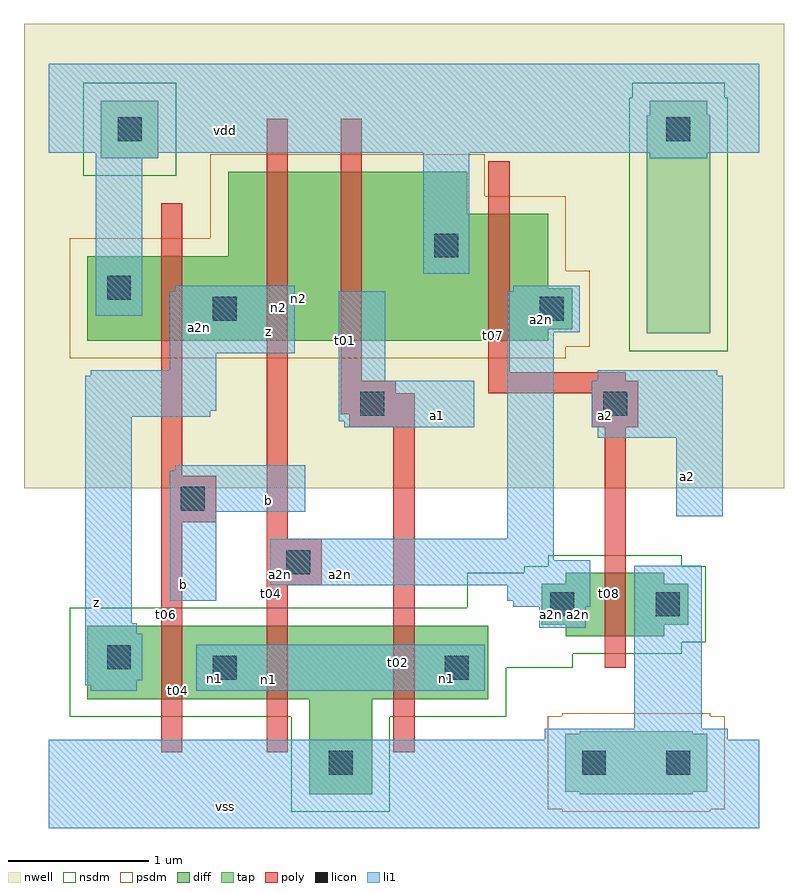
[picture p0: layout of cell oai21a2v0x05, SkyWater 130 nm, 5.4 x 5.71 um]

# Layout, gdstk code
import gdstk
lib = gdstk.Library(unit=1e-6, precision=5e-09)
def R(c, l, rs):  # rectangles x0, y0, x1, y1
    for r in rs: c.add(gdstk.rectangle(r[:2], r[2:], *l))
def A(c, l, x, y, w, h, nx, ny, dx, dy):  # array of equal rectangles
    R(c, l, [(x+i*dx, y+j*dy, x+i*dx+w, y+j*dy+h) for i in range(nx) for j in range(ny)])
nwell = (64, 20)
diff = (65, 20)
tap = (65, 44)
poly = (66, 20)
licon = (66, 44)
li1 = (67, 20)
nsdm = (93, 44)
psdm = (94, 20)

oai21a2v0x05 = lib.new_cell('oai21a2v0x05')
R(oai21a2v0x05, nwell, [(-0.3,2.4,5.1,5.7)])
R(oai21a2v0x05, diff, [(1.725,0.225,2.175,1.425), (0.15,0.9,3,1.425), (3.55,1.35,4.25,1.8), (3.38,1.43,4.42,1.72), (0.15,3.45,3.425,4.05), (1.15,3.45,2.85,4.65), (1.15,3.45,3.425,4.35), (0.15,3.53,3.595,3.82)])
R(oai21a2v0x05, tap, [(3.65,0.225,4.45,0.675), (3.545,0.245,4.555,0.655), (4.125,3.5,4.575,5.05), (4.145,3.5,4.555,5.155), (0.245,4.745,0.655,5.155)])
R(oai21a2v0x05, poly, [(0.675,0.525,0.825,4.425), (1.425,0.525,1.575,5.025), (2.325,0.525,2.475,3.075), (3.825,1.125,3.975,3.225), (1.425,1.71,1.815,2.04), (0.675,2.16,1.065,2.49), (2.01,2.835,2.475,3.075), (2.01,2.835,2.34,3.165), (3.735,2.835,4.065,3.165), (3.735,2.835,3.9,3.225), (1.95,2.925,2.1,5.025), (1.95,2.925,2.475,3.075), (1.95,2.925,2.34,3.165), (3,3.075,3.975,3.225), (3,3.075,3.15,4.725)])
R(oai21a2v0x05, licon, [(1.865,0.365,2.035,0.535), (3.665,0.365,3.835,0.535), (4.265,0.365,4.435,0.535), (1.04,1.04,1.21,1.21), (2.69,1.04,2.86,1.21), (0.29,1.115,0.46,1.285), (3.44,1.49,3.61,1.66), (4.19,1.49,4.36,1.66), (1.565,1.79,1.735,1.96), (0.815,2.24,0.985,2.41), (2.09,2.915,2.26,3.085), (3.815,2.915,3.985,3.085), (1.04,3.59,1.21,3.76), (3.365,3.59,3.535,3.76), (0.29,3.74,0.46,3.91), (2.615,4.04,2.785,4.21), (0.365,4.865,0.535,5.035), (4.265,4.865,4.435,5.035)])
A(oai21a2v0x05, li1, 0.775, 3.435, 0.25, 0.33, 3, 1, 0.6, 0)
R(oai21a2v0x05, li1, [(-0.125,-0.015,4.925,0.615), (-0.125,-0.015,4.925,0.615), (3.4,-0.015,4.7,0.69), (4.035,-0.015,4.515,1.85), (0.175,0.96,0.5,1.44), (0.175,0.96,0.465,3.24), (0.925,0.96,2.975,1.29), (0.135,1,0.5,1.44), (0.135,1,0.465,3.2), (0.135,1.035,0.54,1.365), (0.135,1.075,0.465,3.125), (3.36,1.41,3.69,1.89), (3.175,1.56,3.465,3.84), (3.175,1.56,3.725,1.89), (0.735,1.6,1.065,2.525), (0.775,1.6,1.065,2.565), (3.135,1.6,3.465,3.8), (3.135,1.6,3.725,1.89), (0.775,1.635,1.025,1.965), (1.45,1.71,3.725,1.89), (1.45,1.71,3.465,2.04), (4.335,2.2,4.625,3.24), (4.335,2.2,4.625,3.24), (4.335,2.2,4.665,3.2), (0.735,2.235,1.7,2.525), (0.775,2.235,1.7,2.565), (1.375,2.235,1.625,2.565), (4.335,2.275,4.665,3.125), (3.775,2.76,4.665,3.2), (3.775,2.76,4.665,3.2), (3.775,2.76,4.625,3.24), (1.975,2.835,2.265,3.8), (1.975,2.835,2.9,3.165), (2.575,2.835,2.825,3.165), (3.735,2.835,4.665,3.165), (3.775,2.835,4.025,3.165), (1.935,2.875,2.9,3.165), (1.935,2.875,2.265,3.8), (0.135,2.91,1.025,3.2), (0.175,2.91,1.025,3.24), (0.735,2.91,1.025,3.8), (0.775,2.91,1.025,3.84), (0.135,2.95,1.065,3.2), (0.175,2.95,1.065,3.24), (0.735,2.95,1.065,3.8), (0.775,2.95,1.065,3.84), (0.735,3.36,1.625,3.8), (0.775,3.36,1.625,3.84), (3.135,3.51,3.65,3.8), (3.175,3.51,3.65,3.84), (0.21,3.625,0.54,5.415), (2.535,3.925,2.865,5.415), (0.21,4.745,0.655,5.415), (4.145,4.745,4.555,5.415), (-0.125,4.785,4.925,5.415), (-0.125,4.785,4.925,5.415)])
R(oai21a2v0x05, nsdm, [(1.6,0.1,2.3,1.55), (1.725,0.225,2.175,1.425), (1.725,0.225,2.175,1.425), (1.805,0.305,2.095,0.595), (0.025,0.775,3.125,1.55), (0.15,0.9,0.6,1.425), (0.15,0.9,0.6,1.425), (0.975,0.9,1.275,1.425), (0.975,0.9,1.275,1.425), (2.55,0.9,3,1.425), (2.55,0.9,3,1.425), (0.98,0.98,1.27,1.27), (2.63,0.98,2.92,1.27), (0.23,1.055,0.52,1.345), (0.025,1.125,3.6,1.55), (2.85,1.125,3.6,1.8), (2.85,1.125,3.6,1.8), (2.85,1.125,3.6,1.8), (2.85,1.225,4.375,1.8), (2.85,1.225,4.375,1.8), (2.85,1.225,4.375,1.8), (3.255,1.225,4.375,1.845), (3.255,1.225,4.375,1.845), (3.425,1.225,4.375,1.925), (2.85,1.305,4.545,1.8), (2.85,1.305,4.545,1.8), (2.85,1.305,4.545,1.8), (3.255,1.305,4.545,1.845), (3.38,1.43,3.67,1.72), (4.13,1.43,4.42,1.72), (4,3.375,4.7,5.175), (4.02,3.375,4.68,5.28), (0.12,4.62,0.78,5.28)])
R(oai21a2v0x05, psdm, [(3.525,0.1,4.575,0.8), (3.42,0.12,4.68,0.78), (0.025,3.325,3.55,4.175), (1.025,3.325,2.975,4.775), (1.025,3.325,3.55,4.475), (0.025,3.405,3.72,3.945), (0.15,3.45,0.6,4.05), (0.15,3.45,0.6,4.05), (0.975,3.45,1.275,4.05), (0.975,3.45,1.275,4.05), (1.575,3.45,1.875,4.65), (1.575,3.45,1.875,4.65), (2.25,3.45,2.55,4.65), (2.25,3.45,2.55,4.65), (2.4,3.45,2.85,4.65), (2.4,3.45,2.85,4.65), (0.98,3.53,1.27,3.82), (3.305,3.53,3.595,3.82), (0.23,3.68,0.52,3.97), (2.555,3.98,2.845,4.27)])
oai21a2v0x05.add(gdstk.Label('t04', (0.8,0.965), layer=93, texttype=44))
oai21a2v0x05.add(gdstk.Label('n2', (1.51,3.685), layer=94, texttype=20))
oai21a2v0x05.add(gdstk.Label('a2n', (0.945,3.54), layer=94, texttype=20))
oai21a2v0x05.add(gdstk.Label('t05', (0.905,3.535), layer=94, texttype=20))
oai21a2v0x05.add(gdstk.Label('t04', (0.86,1.03), layer=65, texttype=20))
oai21a2v0x05.add(gdstk.Label('n2', (1.575,3.75), layer=65, texttype=20))
oai21a2v0x05.add(gdstk.Label('a2n', (3.64,1.5), layer=65, texttype=20))
oai21a2v0x05.add(gdstk.Label('a2n', (1.01,3.6), layer=65, texttype=20))
oai21a2v0x05.add(gdstk.Label('t05', (0.965,3.6), layer=65, texttype=20))
oai21a2v0x05.add(gdstk.Label('n1', (1.05,1.05), layer=93, texttype=44))
oai21a2v0x05.add(gdstk.Label('n1', (2.7,1.05), layer=93, texttype=44))
oai21a2v0x05.add(gdstk.Label('a2n', (3.45,1.5), layer=93, texttype=44))
oai21a2v0x05.add(gdstk.Label('a2n', (3.375,3.6), layer=94, texttype=20))
oai21a2v0x05.add(gdstk.Label('n2', (1.65,3.75), layer=94, texttype=20))
oai21a2v0x05.add(gdstk.Label('t06', (0.71,1.5), layer=66, texttype=20))
oai21a2v0x05.add(gdstk.Label('a2n', (1.52,1.79), layer=66, texttype=20))
oai21a2v0x05.add(gdstk.Label('t04', (1.46,1.65), layer=66, texttype=20))
oai21a2v0x05.add(gdstk.Label('t01', (1.985,3.45), layer=66, texttype=20))
oai21a2v0x05.add(gdstk.Label('t02', (2.36,1.16), layer=66, texttype=20))
oai21a2v0x05.add(gdstk.Label('t08', (3.86,1.65), layer=66, texttype=20))
oai21a2v0x05.add(gdstk.Label('t07', (3.035,3.485), layer=66, texttype=20))
oai21a2v0x05.add(gdstk.Label('a2n', (3.405,3.63), layer=66, texttype=44))
oai21a2v0x05.add(gdstk.Label('n1', (1.08,1.08), layer=66, texttype=44))
oai21a2v0x05.add(gdstk.Label('n1', (2.73,1.08), layer=66, texttype=44))
oai21a2v0x05.add(gdstk.Label('a2n', (1.605,1.83), layer=66, texttype=44))
oai21a2v0x05.add(gdstk.Label('a2n', (3.48,1.53), layer=66, texttype=44))
oai21a2v0x05.add(gdstk.Label('z', (0.215,1.585), layer=67, texttype=20))
oai21a2v0x05.add(gdstk.Label('b', (0.835,1.715), layer=67, texttype=20))
oai21a2v0x05.add(gdstk.Label('b', (1.435,2.315), layer=67, texttype=20))
oai21a2v0x05.add(gdstk.Label('z', (0.835,3.515), layer=67, texttype=20))
oai21a2v0x05.add(gdstk.Label('z', (1.435,3.515), layer=67, texttype=20))
oai21a2v0x05.add(gdstk.Label('a1', (2.635,2.915), layer=67, texttype=20))
oai21a2v0x05.add(gdstk.Label('a1', (2.035,3.515), layer=67, texttype=20))
oai21a2v0x05.add(gdstk.Label('n1', (1.435,1.04), layer=67, texttype=20))
oai21a2v0x05.add(gdstk.Label('a2n', (1.95,1.79), layer=67, texttype=20))
oai21a2v0x05.add(gdstk.Label('a2n', (3.44,1.53), layer=67, texttype=20))
oai21a2v0x05.add(gdstk.Label('a2n', (3.29,3.59), layer=67, texttype=20))
oai21a2v0x05.add(gdstk.Label('vss', (1.135,0.14), layer=67, texttype=20))
oai21a2v0x05.add(gdstk.Label('a2', (3.835,2.915), layer=67, texttype=20))
oai21a2v0x05.add(gdstk.Label('a2', (4.415,2.485), layer=67, texttype=20))
oai21a2v0x05.add(gdstk.Label('vdd', (1.135,4.94), layer=67, texttype=20))

lib.write_gds('oai21a2v0x05.gds')
